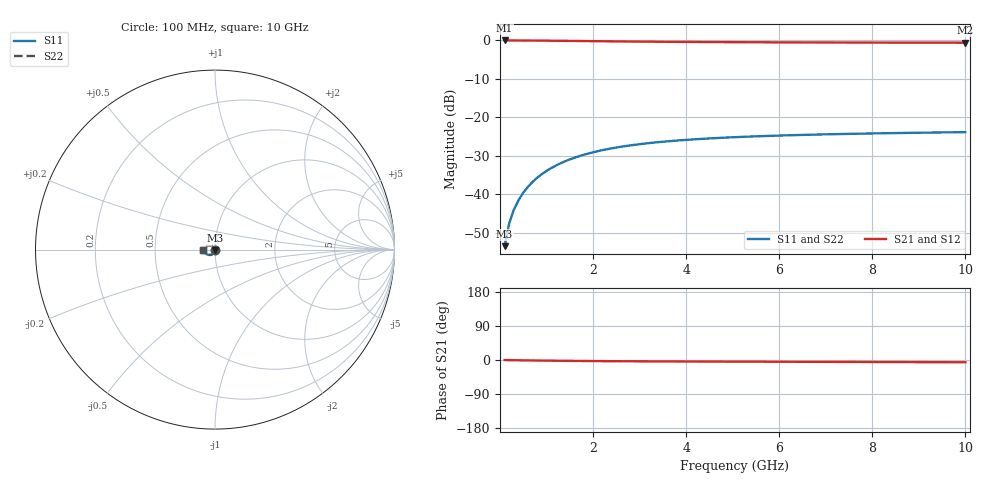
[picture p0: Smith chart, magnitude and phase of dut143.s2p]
! Touchstone file exported from HFSS 2024.1.0
!  File:  C:/UserFiles/LocalFiles/RDL_TSV_Batchsim/temp_TSV1_143_1779380697.aedt
!  Generated:  12:35:24 AM May 22, 2026
!  Design:  TSV1
!  Project:  temp_TSV1_143_1779380697
!  Setup:  Setup1
!  Solution:  Sweep
! Variables:
!  dtsv = 12.59um
!  hbump = 3um
!  htsv = 94.54um
!  lrdl = 252.1521522um
!  p = 40
!  p1 = 55.07um
!  t = 500um
!  trdl = 3um
!  wrdl = 24.89489489um
# GHz S MA R 50.000000
! Terminal data exported
! Port[1] = TSV22_T1
! Port[2] = TSV22_T2
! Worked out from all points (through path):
!   100 points, 100 MHz to 10 GHz, reference 50 ohm
!   highest |S21| = 0.00 dB at 100 MHz (marker M1); lowest = -0.6 dB at 10 GHz (marker M2)
!   lowest |S11| = -53.5 dB at 100 MHz (marker M3), VSWR 1.00, Z = 50 - j0.212 ohm
!   |S11| at or under -10 dB: start of sweep to end of sweep
!   |S22| runs from -53.5 to -23.8 dB; largest |S21 - S12| = 8.1e-15
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0.1  0.002117 -89.3  0.9998 -0.2  0.9998 -0.2  0.002117 -89.3
! Gamma 0 0 0 0
! Port Impedance 50 0 50 0
0.2  0.004228 -92.7  0.9996 -0.4  0.9996 -0.4  0.004228 -92.7
0.3  0.00633 -95.1  0.9992 -0.5  0.9992 -0.5  0.00633 -95.1
0.4  0.008415 -97.4  0.9986 -0.7  0.9986 -0.7  0.008415 -97.4
0.5  0.01047 -99.6  0.998 -0.9  0.998 -0.9  0.01047 -99.6
0.6  0.0125 -101.7  0.9972 -1.0  0.9972 -1.0  0.0125 -101.7
0.7  0.01448 -103.8  0.9963 -1.2  0.9963 -1.2  0.01448 -103.8
0.8  0.01642 -105.8  0.9953 -1.4  0.9953 -1.4  0.01642 -105.8
0.9  0.0183 -107.8  0.9942 -1.5  0.9942 -1.5  0.0183 -107.8
1.1  0.02191 -111.6  0.9918 -1.8  0.9918 -1.8  0.02191 -111.6
1.4  0.02687 -116.9  0.9878 -2.2  0.9878 -2.2  0.02687 -116.9
1.6  0.02987 -120.3  0.985 -2.4  0.985 -2.4  0.02987 -120.3
1.8  0.03263 -123.4  0.9821 -2.6  0.9821 -2.6  0.03263 -123.4
2.1  0.03633 -127.8  0.9779 -2.9  0.9779 -2.9  0.03633 -127.8
2.5  0.04055 -133.1  0.9726 -3.2  0.9726 -3.2  0.04055 -133.1
2.9  0.04405 -137.7  0.9677 -3.4  0.9677 -3.4  0.04405 -137.7
3.4  0.04762 -142.8  0.9624 -3.7  0.9624 -3.7  0.04762 -142.8
4.2  0.05195 -149.6  0.9555 -4.0  0.9555 -4.0  0.05195 -149.6
5.1  0.05545 -155.8  0.9496 -4.3  0.9496 -4.3  0.05545 -155.8
6.7  0.05958 -164.5  0.9424 -4.8  0.9424 -4.8  0.05958 -164.5
8.4  0.06238 -171.6  0.9376 -5.4  0.9376 -5.4  0.06238 -171.6
10  0.06426 -177.2  0.9346 -6.0  0.9346 -6.0  0.06426 -177.2
